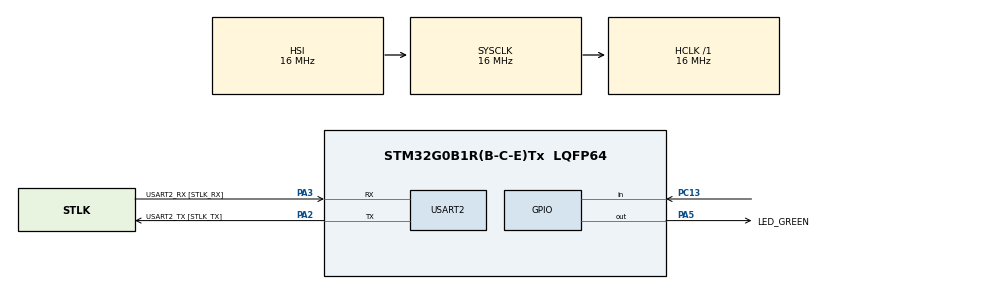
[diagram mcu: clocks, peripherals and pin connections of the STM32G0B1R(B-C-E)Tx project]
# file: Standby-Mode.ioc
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IWDG.Prescaler=IWDG_PRESCALER_256
IWDG.Reload=500
Mcu.Family=STM32G0
Mcu.Name=STM32G0B1R(B-C-E)Tx
Mcu.Package=LQFP64
PA13.GPIO_Label=TMS
PA13.Mode=Serial_Wire
PA13.Signal=SYS_SWDIO
PA14-BOOT0.GPIO_Label=TCK
PA14-BOOT0.Mode=Serial_Wire
PA14-BOOT0.Signal=SYS_SWCLK
PA2.GPIO_Label=USART2_TX [STLK_TX]
PA2.Mode=Asynchronous
PA2.Signal=USART2_TX
PA3.GPIO_Label=USART2_RX [STLK_RX]
PA3.Mode=Asynchronous
PA3.Signal=USART2_RX
PA5.GPIO_Label=LED_GREEN
PA5.GPIO_Speed=GPIO_SPEED_FREQ_HIGH
PA5.Signal=GPIO_Output
PC13.Signal=GPIO_Input
PC14-OSC32_IN\ (PC14).Mode=LSE-External-Oscillator
PC14-OSC32_IN\ (PC14).Signal=RCC_OSC32_IN
PC15-OSC32_OUT\ (PC15).Mode=LSE-External-Oscillator
PC15-OSC32_OUT\ (PC15).Signal=RCC_OSC32_OUT
PF0-OSC_IN\ (PF0).GPIO_Label=MCO
PF0-OSC_IN\ (PF0).Mode=HSE-External-Clock-Source
PF0-OSC_IN\ (PF0).Signal=RCC_OSC_IN
ProjectManager.HeapSize=0x200
ProjectManager.StackSize=0x400
ProjectManager.TargetToolchain=STM32CubeIDE
RCC.AHBFreq_Value=16000000
RCC.CortexFreq_Value=16000000
RCC.EXTERNAL_CLOCK_VALUE=12288000
RCC.HCLKFreq_Value=16000000
RCC.HSE_VALUE=8000000
RCC.HSI48_VALUE=48000000
RCC.HSI_VALUE=16000000
RCC.SYSCLKFreq_VALUE=16000000
RCC.USBFreq_Value=48000000
RCC.VCOOutputFreq_Value=128000000
RTC.Date=28
RTC.WeekDay=RTC_WEEKDAY_WEDNESDAY
RTC.Year=26
USART2.VirtualMode-Asynchronous=VM_ASYNC
VP_IWDG_VS_IWDG.Mode=IWDG_Activate
VP_RTC_VS_RTC_Activate.Mode=RTC_Enabled
VP_RTC_VS_RTC_Calendar.Mode=RTC_Calendar
VP_SYS_VS_DBSignals.Mode=DisableDeadBatterySignals
board=NUCLEO-G0B1RE

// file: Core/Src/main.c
/* USER CODE BEGIN Header */
/**
  ******************************************************************************
  * @file           : main.c
  * @brief          : Main program body
  ******************************************************************************
  * @attention
  *
  * Copyright (c) 2026 STMicroelectronics.
  * All rights reserved.
  *
  * This software is licensed under terms that can be found in the LICENSE file
  * in the root directory of this software component.
  * If no LICENSE file comes with this software, it is provided AS-IS.
  *
  ******************************************************************************
  */
/* USER CODE END Header */
#include "main.h"

/* USER CODE BEGIN Includes */
#include <stdio.h>
/* USER CODE END Includes */

IWDG_HandleTypeDef hiwdg;

RTC_HandleTypeDef hrtc;

UART_HandleTypeDef huart2;

/* USER CODE BEGIN PV */
__attribute__((section(".noinit"))) uint8_t delay;		// Variable placed in .noinit, so its value is not reset on MCU reboot
RTC_TimeTypeDef hTime = {0};
RTC_DateTypeDef hDate = {0};

/* USER CODE END PV */

void SystemClock_Config(void);
static void MX_GPIO_Init(void);
static void MX_USART2_UART_Init(void);
static void MX_RTC_Init(void);
static void MX_IWDG_Init(void);

int main(void)
{

  /* USER CODE BEGIN 1 */
	uint8_t count = 0;
  /* USER CODE END 1 */

  /* MCU Configuration--------------------------------------------------------*/

  /* Reset of all peripherals, Initializes the Flash interface and the Systick. */
  HAL_Init();

  /* Configure the system clock */
  SystemClock_Config();

  /* Initialize all configured peripherals */
  MX_GPIO_Init();
  MX_USART2_UART_Init();
  MX_RTC_Init();
  MX_IWDG_Init();
  /* USER CODE BEGIN 2 */
  if(__HAL_PWR_GET_FLAG(PWR_FLAG_SB)){					// Did you enter before Standby?

	  __HAL_PWR_CLEAR_FLAG(PWR_SCR_CSBF);				// Clear Standby Flag
	  __HAL_PWR_CLEAR_FLAG(PWR_SCR_CWUF);				// Clear Wake-up Pin Flags
	  HAL_PWR_DisableWakeUpPin(PWR_WAKEUP_PIN2);		// Disable Wake-UP pin

	  delay = 100;										// Identify blinking Led
	  while(HAL_GPIO_ReadPin(GPIOC, GPIO_PIN_13) == GPIO_PIN_RESET)		// Wait realese Boton
		  HAL_IWDG_Refresh(&hiwdg);
  }
  else{
	  delay = 200;
  }

  /* USER CODE END 2 */

  /* Infinite loop */
  /* USER CODE BEGIN WHILE */
  while (1)
  {
	  if(HAL_GPIO_ReadPin(GPIOC, GPIO_PIN_13) == GPIO_PIN_RESET){
		  HAL_Delay(50);		// Delay of 50 miliseconds
		  if(HAL_GPIO_ReadPin(GPIOC, GPIO_PIN_13) == GPIO_PIN_RESET){

			  while(HAL_GPIO_ReadPin(GPIOC, GPIO_PIN_13) == GPIO_PIN_RESET)	// Release the button
				  HAL_IWDG_Refresh(&hiwdg);

			  HAL_Delay(50);
			  HAL_DBGMCU_DisableDBGStandbyMode();				// Disable GDB because GDB not allow FCLK or HCLK to be turned off during a debug session (RM044 - 40.9.1 Debug support for low-power modes)
			  __HAL_PWR_CLEAR_FLAG(PWR_SCR_CSBF);				// Clean Stanby Flag
			  __HAL_PWR_CLEAR_FLAG(PWR_SCR_CWUF);				// Clean Wake-up Pin Flags

			  HAL_PWR_EnableWakeUpPin(PWR_WAKEUP_PIN2_LOW);		// Enable Wake-up Pin
			  HAL_PWREx_EnableSRAMRetention();					// Enable SRAM
			  HAL_PWREx_EnablePORMonitorSampling();				// Enable Ultra Low Power

			  HAL_PWR_EnterSTANDBYMode();						// Entrance in standby mode
		  }

	}

	  // Toggle Led Pin
	  HAL_Delay(delay);
	  HAL_GPIO_TogglePin(LED_GREEN_GPIO_Port, LED_GREEN_Pin);

	  // Obtain the Date and Time
	  HAL_RTC_GetDate(&hrtc, &hDate, RTC_FORMAT_BIN);
	  HAL_RTC_GetTime(&hrtc, &hTime, RTC_FORMAT_BIN);

	  count++;
	  if(count == 10){
		  count = 0;
		  printf("%02d:%02d:%02d  %02d/%02d/20%02d\r\n",
				  hTime.Hours,
				  hTime.Minutes,
				  hTime.Seconds,
				  hDate.Date,
				  hDate.Month,
				  hDate.Year);
	  	 }

	  HAL_IWDG_Refresh(&hiwdg);		// Refresh IWDG,	Remember, uncheck IWDG_STDBY to Freeze IWDDG counter in standby mode

    /* USER CODE END WHILE */

  }
}

void SystemClock_Config(void)
{
  RCC_OscInitTypeDef RCC_OscInitStruct = {0};
  RCC_ClkInitTypeDef RCC_ClkInitStruct = {0};

  /** Configure the main internal regulator output voltage
  */
  HAL_PWREx_ControlVoltageScaling(PWR_REGULATOR_VOLTAGE_SCALE1);

  /** Configure LSE Drive Capability
  */
  HAL_PWR_EnableBkUpAccess();
  __HAL_RCC_LSEDRIVE_CONFIG(RCC_LSEDRIVE_LOW);

  /** Initializes the RCC Oscillators according to the specified parameters
  * in the RCC_OscInitTypeDef structure.
  */
  RCC_OscInitStruct.OscillatorType = RCC_OSCILLATORTYPE_HSI|RCC_OSCILLATORTYPE_LSI
                              |RCC_OSCILLATORTYPE_LSE;
  RCC_OscInitStruct.LSEState = RCC_LSE_ON;
  RCC_OscInitStruct.HSIState = RCC_HSI_ON;
  RCC_OscInitStruct.HSIDiv = RCC_HSI_DIV1;
  RCC_OscInitStruct.HSICalibrationValue = RCC_HSICALIBRATION_DEFAULT;
  RCC_OscInitStruct.LSIState = RCC_LSI_ON;
  RCC_OscInitStruct.PLL.PLLState = RCC_PLL_NONE;
  if (HAL_RCC_OscConfig(&RCC_OscInitStruct) != HAL_OK)
  {
    Error_Handler();
  }

  /** Initializes the CPU, AHB and APB buses clocks
  */
  RCC_ClkInitStruct.ClockType = RCC_CLOCKTYPE_HCLK|RCC_CLOCKTYPE_SYSCLK
                              |RCC_CLOCKTYPE_PCLK1;
  RCC_ClkInitStruct.SYSCLKSource = RCC_SYSCLKSOURCE_HSI;
  RCC_ClkInitStruct.AHBCLKDivider = RCC_SYSCLK_DIV1;
  RCC_ClkInitStruct.APB1CLKDivider = RCC_HCLK_DIV1;

  if (HAL_RCC_ClockConfig(&RCC_ClkInitStruct, FLASH_LATENCY_0) != HAL_OK)
  {
    Error_Handler();
  }
}

static void MX_IWDG_Init(void)
{

  hiwdg.Instance = IWDG;
  hiwdg.Init.Prescaler = IWDG_PRESCALER_256;
  hiwdg.Init.Window = 4095;
  hiwdg.Init.Reload = 500;
  if (HAL_IWDG_Init(&hiwdg) != HAL_OK)
  {
    Error_Handler();
  }

}

static void MX_RTC_Init(void)
{

  RTC_TimeTypeDef sTime = {0};
  RTC_DateTypeDef sDate = {0};

  /** Initialize RTC Only
  */
  hrtc.Instance = RTC;
  hrtc.Init.HourFormat = RTC_HOURFORMAT_24;
  hrtc.Init.AsynchPrediv = 127;
  hrtc.Init.SynchPrediv = 255;
  hrtc.Init.OutPut = RTC_OUTPUT_DISABLE;
  hrtc.Init.OutPutRemap = RTC_OUTPUT_REMAP_NONE;
  hrtc.Init.OutPutPolarity = RTC_OUTPUT_POLARITY_HIGH;
  hrtc.Init.OutPutType = RTC_OUTPUT_TYPE_OPENDRAIN;
  hrtc.Init.OutPutPullUp = RTC_OUTPUT_PULLUP_NONE;
  if (HAL_RTC_Init(&hrtc) != HAL_OK)
  {
    Error_Handler();
  }

  /* USER CODE BEGIN Check_RTC_BKUP */
  if (HAL_RTCEx_BKUPRead(&hrtc, RTC_BKP_DR0) != 2244){
  /* USER CODE END Check_RTC_BKUP */

  /** Initialize RTC and set the Time and Date
  */
  sTime.Hours = 0x0;
  sTime.Minutes = 0x0;
  sTime.Seconds = 0x0;
  sTime.SubSeconds = 0x0;
  sTime.DayLightSaving = RTC_DAYLIGHTSAVING_NONE;
  sTime.StoreOperation = RTC_STOREOPERATION_RESET;
  if (HAL_RTC_SetTime(&hrtc, &sTime, RTC_FORMAT_BCD) != HAL_OK)
  {
    Error_Handler();
  }
  sDate.WeekDay = RTC_WEEKDAY_WEDNESDAY;
  sDate.Month = RTC_MONTH_JANUARY;
  sDate.Date = 0x28;
  sDate.Year = 0x26;

  if (HAL_RTC_SetDate(&hrtc, &sDate, RTC_FORMAT_BCD) != HAL_OK)
  {
    Error_Handler();
  }
  /* USER CODE BEGIN RTC_Init 2 */
  	  HAL_RTCEx_BKUPWrite(&hrtc, RTC_BKP_DR0, 2244);
  }
  /* USER CODE END RTC_Init 2 */

}

static void MX_USART2_UART_Init(void)
{

  huart2.Instance = USART2;
  huart2.Init.BaudRate = 115200;
  huart2.Init.WordLength = UART_WORDLENGTH_8B;
  huart2.Init.StopBits = UART_STOPBITS_1;
  huart2.Init.Parity = UART_PARITY_NONE;
  huart2.Init.Mode = UART_MODE_TX_RX;
  huart2.Init.HwFlowCtl = UART_HWCONTROL_NONE;
  huart2.Init.OverSampling = UART_OVERSAMPLING_16;
  huart2.Init.OneBitSampling = UART_ONE_BIT_SAMPLE_DISABLE;
  huart2.Init.ClockPrescaler = UART_PRESCALER_DIV1;
  huart2.AdvancedInit.AdvFeatureInit = UART_ADVFEATURE_NO_INIT;
  if (HAL_UART_Init(&huart2) != HAL_OK)
  {
    Error_Handler();
  }
  if (HAL_UARTEx_SetTxFifoThreshold(&huart2, UART_TXFIFO_THRESHOLD_1_8) != HAL_OK)
  {
    Error_Handler();
  }
  if (HAL_UARTEx_SetRxFifoThreshold(&huart2, UART_RXFIFO_THRESHOLD_1_8) != HAL_OK)
  {
    Error_Handler();
  }
  if (HAL_UARTEx_DisableFifoMode(&huart2) != HAL_OK)
  {
    Error_Handler();
  }

}

static void MX_GPIO_Init(void)
{
  GPIO_InitTypeDef GPIO_InitStruct = {0};

  /* GPIO Ports Clock Enable */
  __HAL_RCC_GPIOC_CLK_ENABLE();
  __HAL_RCC_GPIOF_CLK_ENABLE();
  __HAL_RCC_GPIOA_CLK_ENABLE();
  __HAL_RCC_GPIOB_CLK_ENABLE();
  __HAL_RCC_GPIOD_CLK_ENABLE();

  /*Configure GPIO pin Output Level */
  HAL_GPIO_WritePin(LED_GREEN_GPIO_Port, LED_GREEN_Pin, GPIO_PIN_RESET);

  /*Configure GPIO pins : PC11 PC12 PC0 PC1
                           PC2 PC3 PC4 PC5
                           PC6 PC7 PC8 PC9
                           PC10 */
  GPIO_InitStruct.Pin = GPIO_PIN_11|GPIO_PIN_12|GPIO_PIN_0|GPIO_PIN_1
                          |GPIO_PIN_2|GPIO_PIN_3|GPIO_PIN_4|GPIO_PIN_5
                          |GPIO_PIN_6|GPIO_PIN_7|GPIO_PIN_8|GPIO_PIN_9
                          |GPIO_PIN_10;
  GPIO_InitStruct.Mode = GPIO_MODE_ANALOG;
  GPIO_InitStruct.Pull = GPIO_NOPULL;
  HAL_GPIO_Init(GPIOC, &GPIO_InitStruct);

  /*Configure GPIO pin : PC13 */
  GPIO_InitStruct.Pin = GPIO_PIN_13;
  GPIO_InitStruct.Mode = GPIO_MODE_INPUT;
  GPIO_InitStruct.Pull = GPIO_NOPULL;
  HAL_GPIO_Init(GPIOC, &GPIO_InitStruct);

  /*Configure GPIO pins : PF1 PF2 */
  GPIO_InitStruct.Pin = GPIO_PIN_1|GPIO_PIN_2;
  GPIO_InitStruct.Mode = GPIO_MODE_ANALOG;
  GPIO_InitStruct.Pull = GPIO_NOPULL;
  HAL_GPIO_Init(GPIOF, &GPIO_InitStruct);

  /*Configure GPIO pins : PA0 PA1 PA4 PA6
                           PA7 PA8 PA9 PA10
                           PA11 PA12 PA15 */
  GPIO_InitStruct.Pin = GPIO_PIN_0|GPIO_PIN_1|GPIO_PIN_4|GPIO_PIN_6
                          |GPIO_PIN_7|GPIO_PIN_8|GPIO_PIN_9|GPIO_PIN_10
                          |GPIO_PIN_11|GPIO_PIN_12|GPIO_PIN_15;
  GPIO_InitStruct.Mode = GPIO_MODE_ANALOG;
  GPIO_InitStruct.Pull = GPIO_NOPULL;
  HAL_GPIO_Init(GPIOA, &GPIO_InitStruct);

  /*Configure GPIO pin : LED_GREEN_Pin */
  GPIO_InitStruct.Pin = LED_GREEN_Pin;
  GPIO_InitStruct.Mode = GPIO_MODE_OUTPUT_PP;
  GPIO_InitStruct.Pull = GPIO_NOPULL;
  GPIO_InitStruct.Speed = GPIO_SPEED_FREQ_HIGH;
  HAL_GPIO_Init(LED_GREEN_GPIO_Port, &GPIO_InitStruct);

  /*Configure GPIO pins : PB0 PB1 PB2 PB10
                           PB11 PB12 PB13 PB14
                           PB15 PB3 PB4 PB5
                           PB6 PB7 PB8 PB9 */
  GPIO_InitStruct.Pin = GPIO_PIN_0|GPIO_PIN_1|GPIO_PIN_2|GPIO_PIN_10
                          |GPIO_PIN_11|GPIO_PIN_12|GPIO_PIN_13|GPIO_PIN_14
                          |GPIO_PIN_15|GPIO_PIN_3|GPIO_PIN_4|GPIO_PIN_5
                          |GPIO_PIN_6|GPIO_PIN_7|GPIO_PIN_8|GPIO_PIN_9;
  GPIO_InitStruct.Mode = GPIO_MODE_ANALOG;
  GPIO_InitStruct.Pull = GPIO_NOPULL;
  HAL_GPIO_Init(GPIOB, &GPIO_InitStruct);

  /*Configure GPIO pins : PD8 PD9 PD0 PD1
                           PD2 PD3 PD4 PD5
                           PD6 */
  GPIO_InitStruct.Pin = GPIO_PIN_8|GPIO_PIN_9|GPIO_PIN_0|GPIO_PIN_1
                          |GPIO_PIN_2|GPIO_PIN_3|GPIO_PIN_4|GPIO_PIN_5
                          |GPIO_PIN_6;
  GPIO_InitStruct.Mode = GPIO_MODE_ANALOG;
  GPIO_InitStruct.Pull = GPIO_NOPULL;
  HAL_GPIO_Init(GPIOD, &GPIO_InitStruct);

}

/* USER CODE BEGIN 4 */
int _write(int file, char *ptr, int len)
{
    HAL_UART_Transmit(&huart2, (uint8_t*)ptr, len, HAL_MAX_DELAY);
    return len;
}
/* USER CODE END 4 */

void Error_Handler(void)
{
  __disable_irq();
  while (1)
  {
  }
}
